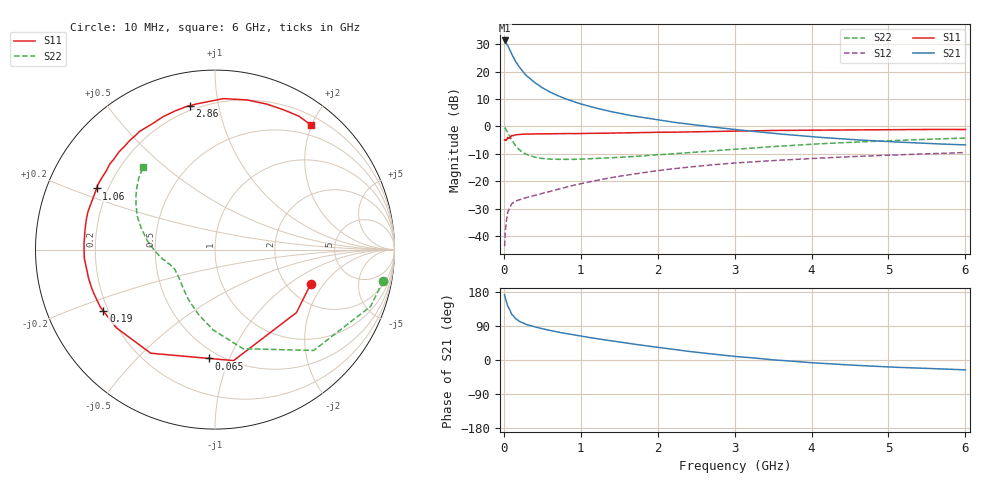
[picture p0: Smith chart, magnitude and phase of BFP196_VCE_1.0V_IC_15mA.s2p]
! Infineon Technologies  Discrete & RF Semiconductors
! BFP196
! VCE = 1.0 V,  IC =  15mA
! Common Emitter S-Parameters:  Jan 2016
# GHz  S  MA  R  50
!  f  S11  S21  S12  S22
! GHz  MAG  ANG  MAG  ANG  MAG  ANG  MAG  ANG
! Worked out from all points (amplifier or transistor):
!   210 points, 10 MHz to 6 GHz, reference 50 ohm
!   highest |S21| = 31.4 dB at 10 MHz (marker M1)
!   |S21| within 3 dB of that: start of sweep to 69.72 MHz
!   unconditionally stable (mu >= 1): 729.7 MHz to 5.397 GHz; 5.595 GHz to end of sweep
!   at 185 MHz: K = 0.41, MSG = 24.7 dB, |S12| = -27.0 dB
!   at 1.52 GHz: K = 1.13, MAG = 9.2 dB, |S12| = -18.1 dB
!   at 6 GHz: K = 1.01, MAG = 0.9 dB, |S12| = -9.6 dB
!   S11 on the Smith chart (normalised r, x): 10 MHz: 2.68, -1.50; 65 MHz: 0.44, -0.84; 190 MHz: 0.18, -0.25; 1.06 GHz: 0.16, +0.24; 2.86 GHz: 0.17, +0.82; 6 GHz: 0.33, +1.99
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0.01  0.5668 -19.6  36.98 172.1  0.0065 81.8  0.9533 -10.5
0.02  0.5737 -37.7  35.26 162.9  0.0125 75.8  0.923 -20.0
0.05  0.6271 -80.5  30.09 142.4  0.0269 57.6  0.7864 -45.6
0.065  0.6072 -93.3  27.08 137.5  0.0301 52.0  0.7065 -52.3
0.1  0.6794 -121.8  21.18 121.1  0.0382 42.9  0.5739 -74.2
0.15  0.7016 -141.7  15.48 109.4  0.0431 36.2  0.4478 -91.3
0.19  0.7098 -151.1  12.79 103.9  0.045 34.8  0.3881 -100.9
0.2  0.7148 -153.4  12.14 102.1  0.0455 34.5  0.3752 -103.8
0.24  0.7177 -160.0  10.28 98.2  0.0475 34.6  0.3389 -111.4
0.3  0.7224 -167.2  8.274 93.3  0.0505 35.5  0.3063 -120.5
0.4  0.7299 -176.4  6.307 87.3  0.0549 37.4  0.2744 -131.2
0.5  0.7304 177.7  5.06 82.5  0.0593 40.4  0.2594 -138.7
0.7  0.7361 167.3  3.645 73.6  0.0708 43.8  0.2501 -148.0
1.02  0.74 154.1  2.522 62.5  0.0908 46.9  0.2528 -156.3
1.06  0.7427 152.7  2.433 61.2  0.0935 47.0  0.2544 -157.0
1.4  0.7553 141.0  1.852 50.6  0.1156 46.7  0.2672 -162.5
2.02  0.7807 122.1  1.3 32.9  0.1568 42.2  0.3036 -172.0
2.86  0.814 100.0  0.925 12.6  0.2066 33.0  0.3697 174.4
3.1  0.8212 94.8  0.849 7.9  0.2187 30.0  0.3898 170.5
4.1  0.8533 76.3  0.632 -8.3  0.2628 18.4  0.4802 155.0
5.1  0.8691 62.5  0.519 -19.2  0.301 7.4  0.5535 142.1
6  0.876 52.4  0.459 -26.0  0.3325 -2.8  0.6114 130.9
